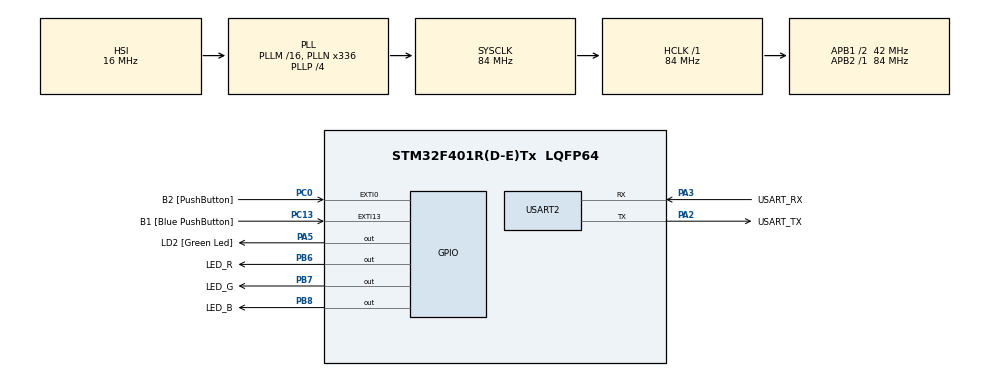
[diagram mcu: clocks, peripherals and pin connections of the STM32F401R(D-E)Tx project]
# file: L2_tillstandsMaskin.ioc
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Mcu.Family=STM32F4
Mcu.Name=STM32F401R(D-E)Tx
Mcu.Package=LQFP64
NVIC.EXTI0_IRQn=true\:0\:0\:false\:false\:true\:true\:true
NVIC.PriorityGroup=NVIC_PRIORITYGROUP_0
PA13.GPIO_Label=TMS
PA13.Mode=Serial_Wire
PA13.Signal=SYS_JTMS-SWDIO
PA14.GPIO_Label=TCK
PA14.Mode=Serial_Wire
PA14.Signal=SYS_JTCK-SWCLK
PA2.GPIO_Label=USART_TX
PA2.GPIO_Mode=GPIO_MODE_AF_PP
PA2.GPIO_PuPd=GPIO_NOPULL
PA2.GPIO_Speed=GPIO_SPEED_FREQ_LOW
PA2.Mode=Asynchronous
PA2.Signal=USART2_TX
PA3.GPIO_Label=USART_RX
PA3.GPIO_Mode=GPIO_MODE_AF_PP
PA3.GPIO_PuPd=GPIO_NOPULL
PA3.GPIO_Speed=GPIO_SPEED_FREQ_LOW
PA3.Mode=Asynchronous
PA3.Signal=USART2_RX
PA5.GPIO_Label=LD2 [Green Led]
PA5.GPIO_Mode=GPIO_MODE_OUTPUT_PP
PA5.GPIO_PuPd=GPIO_NOPULL
PA5.GPIO_Speed=GPIO_SPEED_FREQ_LOW
PA5.Signal=GPIO_Output
PB3.GPIO_Label=SWO
PB3.Signal=SYS_JTDO-SWO
PB6.GPIO_Label=LED_R
PB6.Signal=GPIO_Output
PB7.GPIO_Label=LED_G
PB7.Signal=GPIO_Output
PB8.GPIO_Label=LED_B
PB8.Signal=GPIO_Output
PC0.GPIO_Label=B2 [PushButton]
PC0.GPIO_PuPd=GPIO_PULLUP
PC0.Signal=GPXTI0
PC13-ANTI_TAMP.GPIO_Label=B1 [Blue PushButton]
PC13-ANTI_TAMP.GPIO_ModeDefaultEXTI=GPIO_MODE_IT_FALLING
PC13-ANTI_TAMP.GPIO_PuPd=GPIO_NOPULL
PC13-ANTI_TAMP.Signal=GPXTI13
PC14-OSC32_IN.Mode=LSE-External-Oscillator
PC14-OSC32_IN.Signal=RCC_OSC32_IN
PC15-OSC32_OUT.Mode=LSE-External-Oscillator
PC15-OSC32_OUT.Signal=RCC_OSC32_OUT
PH0\ -\ OSC_IN.Mode=HSE-External-Clock-Source
PH0\ -\ OSC_IN.Signal=RCC_OSC_IN
PH1\ -\ OSC_OUT.Mode=HSE-External-Clock-Source
PH1\ -\ OSC_OUT.Signal=RCC_OSC_OUT
ProjectManager.HeapSize=0x200
ProjectManager.StackSize=0x400
ProjectManager.TargetToolchain=TrueSTUDIO
RCC.48MHZClocksFreq_Value=48000000
RCC.AHBFreq_Value=84000000
RCC.APB1CLKDivider=RCC_HCLK_DIV2
RCC.APB1Freq_Value=42000000
RCC.APB1TimFreq_Value=84000000
RCC.APB2Freq_Value=84000000
RCC.APB2TimFreq_Value=84000000
RCC.CortexFreq_Value=84000000
RCC.HCLKFreq_Value=84000000
RCC.HSE_VALUE=8000000
RCC.HSI_VALUE=16000000
RCC.LSE_VALUE=0.000032767999999999995
RCC.PLLN=336
RCC.PLLP=RCC_PLLP_DIV4
RCC.PLLQ=7
RCC.SYSCLKFreq_VALUE=84000000
RCC.SYSCLKSource=RCC_SYSCLKSOURCE_PLLCLK
RCC.VCOOutputFreq_Value=336000000
USART2.VirtualMode=VM_ASYNC
board=NUCLEO-F401RE

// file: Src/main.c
/* USER CODE BEGIN Header */
/**
  ******************************************************************************
  * @file           : main.c
  * @brief          : Main program body
  ******************************************************************************
  * @attention
  *
  * <h2><center>&copy; Copyright (c) 2019 STMicroelectronics.
  * All rights reserved.</center></h2>
  *
  * This software component is licensed by ST under BSD 3-Clause license,
  * the "License"; You may not use this file except in compliance with the
  * License. You may obtain a copy of the License at:
  *                        opensource.org/licenses/BSD-3-Clause
  *
  ******************************************************************************
  */
/* USER CODE END Header */

#include "main.h"

UART_HandleTypeDef huart2;

void SystemClock_Config(void);
static void MX_GPIO_Init(void);
static void MX_USART2_UART_Init(void);
/* USER CODE BEGIN PFP */
typedef enum{s_white, s_red, s_green, s_blue, s_yellow, s_cyan, s_magenta, s_black} state_LED_t;
typedef enum{s_ON, s_OFF} event_EventButton_T;
volatile uint32_t usekTick=0, sekTick=0, msekTick=0;
void colorState(){
	static volatile state_LED_t color= s_white;
	//static volatile event_EventButton_T eventButton = s_OFF;
	switch (color){
		case s_white:

				HAL_GPIO_WritePin(GPIOB, LED_R_Pin, GPIO_PIN_RESET);
				HAL_GPIO_WritePin(GPIOB, LED_G_Pin, GPIO_PIN_RESET);
				HAL_GPIO_WritePin(GPIOB, LED_B_Pin, GPIO_PIN_RESET);

				color = s_red;

			break;
		case s_red:

				HAL_GPIO_WritePin(GPIOB, LED_R_Pin, GPIO_PIN_RESET);
				HAL_GPIO_WritePin(GPIOB, LED_G_Pin, GPIO_PIN_SET);
				HAL_GPIO_WritePin(GPIOB, LED_B_Pin, GPIO_PIN_SET);
				color = s_green;

			break;
		case s_green:

				HAL_GPIO_WritePin(GPIOB, LED_R_Pin, GPIO_PIN_SET);
				HAL_GPIO_WritePin(GPIOB, LED_G_Pin, GPIO_PIN_RESET);
				HAL_GPIO_WritePin(GPIOB, LED_B_Pin, GPIO_PIN_SET);
				color = s_blue;

			break;
		case s_blue:

				HAL_GPIO_WritePin(GPIOB, LED_R_Pin, GPIO_PIN_SET);
				HAL_GPIO_WritePin(GPIOB, LED_G_Pin, GPIO_PIN_SET);
				HAL_GPIO_WritePin(GPIOB, LED_B_Pin, GPIO_PIN_RESET);
				color = s_yellow;

			break;
		case s_yellow:

				HAL_GPIO_WritePin(GPIOB, LED_R_Pin, GPIO_PIN_RESET);
				HAL_GPIO_WritePin(GPIOB, LED_G_Pin, GPIO_PIN_RESET);
				HAL_GPIO_WritePin(GPIOB, LED_B_Pin, GPIO_PIN_SET);
				color = s_cyan;

			break;
		case s_cyan:

				HAL_GPIO_WritePin(GPIOB, LED_R_Pin, GPIO_PIN_SET);
				HAL_GPIO_WritePin(GPIOB, LED_G_Pin, GPIO_PIN_RESET);
				HAL_GPIO_WritePin(GPIOB, LED_B_Pin, GPIO_PIN_RESET);
				color = s_magenta;

			break;
		case s_magenta:

				HAL_GPIO_WritePin(GPIOB, LED_R_Pin, GPIO_PIN_RESET);
				HAL_GPIO_WritePin(GPIOB, LED_G_Pin, GPIO_PIN_SET);
				HAL_GPIO_WritePin(GPIOB, LED_B_Pin, GPIO_PIN_RESET);
				color = s_black;

			break;

		case s_black:

				HAL_GPIO_WritePin(GPIOB, LED_R_Pin, GPIO_PIN_SET);
				HAL_GPIO_WritePin(GPIOB, LED_G_Pin, GPIO_PIN_SET);
				HAL_GPIO_WritePin(GPIOB, LED_B_Pin, GPIO_PIN_SET);
				color = s_white;

			break;
		}
/*void HAL_GPIO_EXTI_Callback(uint16_t GPIO_Pin){
	if(event == NONE){
		switch()
	}
}*/
}
/* USER CODE END PFP */

int main(void)
{

  /* MCU Configuration--------------------------------------------------------*/

  /* Reset of all peripherals, Initializes the Flash interface and the Systick. */
  HAL_Init();

  /* Configure the system clock */
  SystemClock_Config();

  /* Initialize all configured peripherals */
  MX_GPIO_Init();
  MX_USART2_UART_Init();

  /* Infinite loop */
  /* USER CODE BEGIN WHILE */
  while (1)
  {
	  if(!HAL_GPIO_ReadPin(GPIOC, B2_Pin))
		  colorState();
    /* USER CODE END WHILE */

  }
}

void SystemClock_Config(void)
{
  RCC_OscInitTypeDef RCC_OscInitStruct = {0};
  RCC_ClkInitTypeDef RCC_ClkInitStruct = {0};

  /** Configure the main internal regulator output voltage
  */
  __HAL_RCC_PWR_CLK_ENABLE();
  __HAL_PWR_VOLTAGESCALING_CONFIG(PWR_REGULATOR_VOLTAGE_SCALE2);
  /** Initializes the CPU, AHB and APB busses clocks
  */
  RCC_OscInitStruct.OscillatorType = RCC_OSCILLATORTYPE_HSI;
  RCC_OscInitStruct.HSIState = RCC_HSI_ON;
  RCC_OscInitStruct.HSICalibrationValue = RCC_HSICALIBRATION_DEFAULT;
  RCC_OscInitStruct.PLL.PLLState = RCC_PLL_ON;
  RCC_OscInitStruct.PLL.PLLSource = RCC_PLLSOURCE_HSI;
  RCC_OscInitStruct.PLL.PLLM = 16;
  RCC_OscInitStruct.PLL.PLLN = 336;
  RCC_OscInitStruct.PLL.PLLP = RCC_PLLP_DIV4;
  RCC_OscInitStruct.PLL.PLLQ = 7;
  if (HAL_RCC_OscConfig(&RCC_OscInitStruct) != HAL_OK)
  {
    Error_Handler();
  }
  /** Initializes the CPU, AHB and APB busses clocks
  */
  RCC_ClkInitStruct.ClockType = RCC_CLOCKTYPE_HCLK|RCC_CLOCKTYPE_SYSCLK
                              |RCC_CLOCKTYPE_PCLK1|RCC_CLOCKTYPE_PCLK2;
  RCC_ClkInitStruct.SYSCLKSource = RCC_SYSCLKSOURCE_PLLCLK;
  RCC_ClkInitStruct.AHBCLKDivider = RCC_SYSCLK_DIV1;
  RCC_ClkInitStruct.APB1CLKDivider = RCC_HCLK_DIV2;
  RCC_ClkInitStruct.APB2CLKDivider = RCC_HCLK_DIV1;

  if (HAL_RCC_ClockConfig(&RCC_ClkInitStruct, FLASH_LATENCY_2) != HAL_OK)
  {
    Error_Handler();
  }
}

static void MX_USART2_UART_Init(void)
{

  huart2.Instance = USART2;
  huart2.Init.BaudRate = 115200;
  huart2.Init.WordLength = UART_WORDLENGTH_8B;
  huart2.Init.StopBits = UART_STOPBITS_1;
  huart2.Init.Parity = UART_PARITY_NONE;
  huart2.Init.Mode = UART_MODE_TX_RX;
  huart2.Init.HwFlowCtl = UART_HWCONTROL_NONE;
  huart2.Init.OverSampling = UART_OVERSAMPLING_16;
  if (HAL_UART_Init(&huart2) != HAL_OK)
  {
    Error_Handler();
  }

}

static void MX_GPIO_Init(void)
{
  GPIO_InitTypeDef GPIO_InitStruct = {0};

  /* GPIO Ports Clock Enable */
  __HAL_RCC_GPIOC_CLK_ENABLE();
  __HAL_RCC_GPIOH_CLK_ENABLE();
  __HAL_RCC_GPIOA_CLK_ENABLE();
  __HAL_RCC_GPIOB_CLK_ENABLE();

  /*Configure GPIO pin Output Level */
  HAL_GPIO_WritePin(LD2_GPIO_Port, LD2_Pin, GPIO_PIN_RESET);

  /*Configure GPIO pin Output Level */
  HAL_GPIO_WritePin(GPIOB, LED_R_Pin|LED_G_Pin|LED_B_Pin, GPIO_PIN_RESET);

  /*Configure GPIO pin : B1_Pin */
  GPIO_InitStruct.Pin = B1_Pin;
  GPIO_InitStruct.Mode = GPIO_MODE_IT_FALLING;
  GPIO_InitStruct.Pull = GPIO_NOPULL;
  HAL_GPIO_Init(B1_GPIO_Port, &GPIO_InitStruct);

  /*Configure GPIO pin : B2_Pin */
  GPIO_InitStruct.Pin = B2_Pin;
  GPIO_InitStruct.Mode = GPIO_MODE_IT_RISING;
  GPIO_InitStruct.Pull = GPIO_PULLUP;
  HAL_GPIO_Init(B2_GPIO_Port, &GPIO_InitStruct);

  /*Configure GPIO pin : LD2_Pin */
  GPIO_InitStruct.Pin = LD2_Pin;
  GPIO_InitStruct.Mode = GPIO_MODE_OUTPUT_PP;
  GPIO_InitStruct.Pull = GPIO_NOPULL;
  GPIO_InitStruct.Speed = GPIO_SPEED_FREQ_LOW;
  HAL_GPIO_Init(LD2_GPIO_Port, &GPIO_InitStruct);

  /*Configure GPIO pins : LED_R_Pin LED_G_Pin LED_B_Pin */
  GPIO_InitStruct.Pin = LED_R_Pin|LED_G_Pin|LED_B_Pin;
  GPIO_InitStruct.Mode = GPIO_MODE_OUTPUT_PP;
  GPIO_InitStruct.Pull = GPIO_NOPULL;
  GPIO_InitStruct.Speed = GPIO_SPEED_FREQ_LOW;
  HAL_GPIO_Init(GPIOB, &GPIO_InitStruct);

  /* EXTI interrupt init*/
  HAL_NVIC_SetPriority(EXTI0_IRQn, 0, 0);
  HAL_NVIC_EnableIRQ(EXTI0_IRQn);

}

void Error_Handler(void)
{
}

/************************ (C) COPYRIGHT STMicroelectronics *****END OF FILE****/
